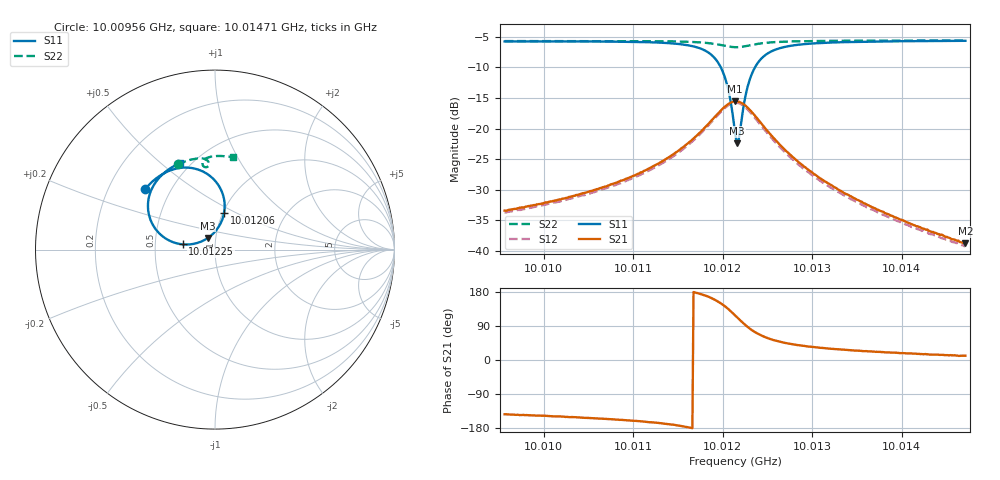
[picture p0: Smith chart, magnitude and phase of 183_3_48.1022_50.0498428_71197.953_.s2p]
#  HZ  S  RI  R  50.00
! Rohde & Schwarz Vector Network Analyzer
! Rohde-Schwarz,ZNB20-2Port,1311601062101988,3.16
! Created: UTC 12/23/2023, 3:53:00 AM
! freq[Hz]  re:S11  im:S11  re:S21  im:S21  re:S12  im:S12  re:S22  im:S22
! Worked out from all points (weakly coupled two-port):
!   401 points, 10.00956 GHz to 10.01471 GHz, reference 50 ohm
!   highest |S21| = -15.55 dB at 10.01214 GHz (marker M1); lowest = -38.7 dB at 10.01471 GHz (marker M2)
!   lowest |S11| = -22.4 dB at 10.01216 GHz (marker M3), VSWR 1.16, Z = 45.8 + j5.95 ohm
!   |S11| at or under -10 dB: 10.01198 GHz to 10.01236 GHz (381.9 kHz wide, 0.00381 % of centre)
!   |S22| runs from -6.7 to -5.6 dB; largest |S21 - S12| = 0.0082
!   S11 on the Smith chart (normalised r, x): 10.00956 GHz: 0.36, +0.33; 10.01206 GHz: 1.01, +0.43; 10.01225 GHz: 0.69, +0.04; 10.01471 GHz: 0.44, +0.58
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1.0009563e10  -0.3881 0.3384  -0.0171 -0.0128  -0.016 -0.0132  -0.2079 0.4746
1.0010426e10  -0.3331 0.3923  -0.0261 -0.0137  -0.0245 -0.0144  -0.1541 0.4954
1.0010889e10  -0.2897 0.4222  -0.0353 -0.0141  -0.0333 -0.0153  -0.1227 0.5037
1.0011288e10  -0.2315 0.4473  -0.0506 -0.0123  -0.0482 -0.0144  -0.0929 0.5084
1.0011597e10  -0.151 0.4567  -0.0742 -0.00415  -0.0714 -0.00794  -0.0663 0.5075
1.0011842e10  -0.035 0.4156  -0.1066 0.0247  -0.1046 0.0186  -0.0425 0.4967
1.0011971e10  0.038 0.323  -0.1207 0.0674  -0.121 0.0592  -0.0337 0.4819
1.0012022e10  0.0533 0.2605  -0.1193 0.0915  -0.1204 0.0837  -0.0337 0.4737
1.0012061e10  0.0508 0.2047  -0.1117 0.1119  -0.1137 0.1046  -0.0359 0.4675
1.0012087e10  0.0402 0.1659  -0.103 0.1254  -0.1058 0.118  -0.0388 0.464
1.0012138e10  -0.00547 0.0937  -0.0779 0.1475  -0.0818 0.1405  -0.047 0.4593
1.0012164e10  -0.0401 0.0646  -0.0619 0.1546  -0.0663 0.148  -0.0517 0.4589
1.001219e10  -0.0789 0.0438  -0.0459 0.1583  -0.0497 0.1525  -0.0564 0.4597
1.0012254e10  -0.1805 0.0293  -0.00616 0.1541  -0.011 0.1486  -0.0655 0.4662
1.0012293e10  -0.2341 0.0415  0.0132 0.1443  0.00792 0.1396  -0.0686 0.4719
1.0012344e10  -0.2901 0.0727  0.0315 0.1279  0.0261 0.1238  -0.0697 0.4801
1.0012473e10  -0.3598 0.1664  0.0498 0.088  0.0445 0.0859  -0.0635 0.4964
1.0012705e10  -0.37 0.2836  0.0469 0.0465  0.0429 0.0463  -0.0434 0.5113
1.0013001e10  -0.3417 0.3579  0.036 0.025  0.0332 0.0253  -0.0184 0.5184
1.0013361e10  -0.306 0.4055  0.0265 0.0134  0.0246 0.0141  0.00868 0.5214
1.0013863e10  -0.262 0.4437  0.0186 0.00677  0.0173 0.00734  0.0442 0.5212
1.0014713e10  -0.1972 0.4821  0.0113 0.00226  0.0106 0.00277  0.1005 0.5146
